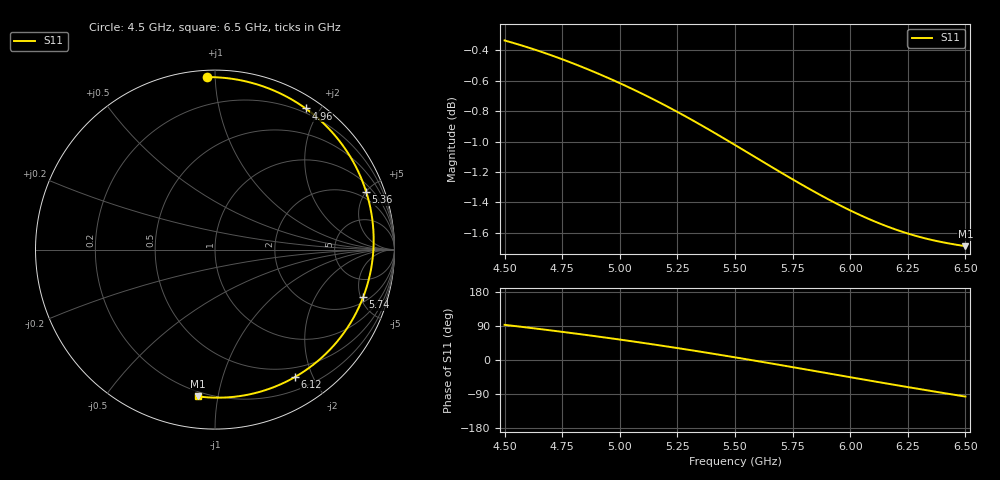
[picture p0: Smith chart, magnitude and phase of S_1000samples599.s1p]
! TOUCHSTONE file generated by CST MICROWAVE STUDIO
! Date and time: Fri Oct 28 17:43:23 2022
! Project name: L.cst
! Parameters = {Di=1.27; Epsilon_r=1.56; InnerDiameter=1.27; Length=2; Lf=10; Lg=60; OuterConductorThickness=0.2921; OuterDiameter=3.6; Wf=3; Wp=41.2; de=1.5; df=6.8; g=0.8; gx=3.14596; gy=3.35425; h=2.34; hf=1.524; px=8.91098; py=11.0503; w=9.7; wx=5.76502; wy=7.69601}
! Header version: 2018
! Port assignment regex: !\s*Touchstone port\s*([0-9]+)\s*=\s*(CST MWS port|CST DS port)\s*([0-9]+|Zmin|Zmax)\s*\(\"(.*)\"\)(\s*mode\s*([0-9]+))?.*
! Touchstone port assignment:
! Touchstone port 1 = CST MWS port 1 ("")
# GHz S DB R 50
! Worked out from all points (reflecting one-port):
!   101 points, 4.5 GHz to 6.5 GHz, reference 50 ohm
!   lowest |S11| = -1.7 dB at 6.5 GHz (marker M1), VSWR 10.32, Z = 8.64 - j43.9 ohm
!   phase of S11 starts at 93 deg and turns -189 deg over the sweep
!   S11 on the Smith chart (normalised r, x): 4.5 GHz: 0.04, +0.95; 4.96 GHz: 0.15, +1.82; 5.36 GHz: 1.45, +5.01; 5.74 GHz: 2.46, -5.26; 6.12 GHz: 0.37, -1.75; 6.5 GHz: 0.17, -0.88
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4.5  -0.33 92.8
4.64  -0.40 82.6
4.76  -0.46 73.5
4.86  -0.52 65.6
4.96  -0.59 57.3
5  -0.62 53.9
5.12  -0.70 43.4
5.2  -0.76 36.1
5.26  -0.81 30.5
5.36  -0.90 20.9
5.44  -0.97 13.1
5.5  -1.02 7.0
5.56  -1.08 0.9
5.62  -1.13 -5.3
5.68  -1.19 -11.5
5.74  -1.24 -17.8
5.76  -1.26 -19.9
5.82  -1.31 -26.3
5.88  -1.36 -32.6
6  -1.45 -45.4
6.06  -1.50 -51.7
6.12  -1.53 -58.0
6.2  -1.58 -66.3
6.26  -1.61 -72.5
6.32  -1.64 -78.6
6.38  -1.66 -84.6
6.44  -1.67 -90.6
6.5  -1.69 -96.5
